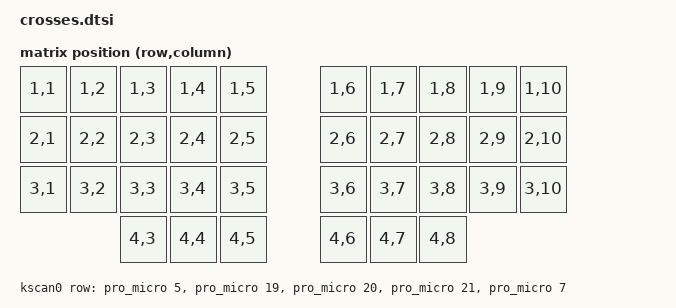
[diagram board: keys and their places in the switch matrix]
/*
 * Copyright (c) 2025 Vincent Franco
 * SPDX-License-Identifier: MIT
 */
#include <dt-bindings/zmk/matrix_transform.h>
#include <dt-bindings/zmk/input_transform.h>

#include "thirty_six_layout.dtsi"

&gggw_crosses_36_layout {
  transform = <&thirty_six_transform>;
};

&pinctrl {
    spi1_default: spi1_default {
        group1 {
            psels
              = <NRF_PSEL(SPIM_SCK, 0, 17)>
              , <NRF_PSEL(SPIM_MOSI, 0, 6)>
              , <NRF_PSEL(SPIM_MISO, 0, 6)>
              ;
        };
    };

    spi1_sleep: spi1_sleep {
        group1 {
            psels
              = <NRF_PSEL(SPIM_SCK, 0, 17)>
              , <NRF_PSEL(SPIM_MOSI, 0, 6)>
              , <NRF_PSEL(SPIM_MISO, 0, 6)>
              ;
            low-power-enable;
        };
    };
};

&spi1 {
  status = "okay";
  compatible = "nordic,nrf-spim";
  pinctrl-0 = <&spi1_default>;
  pinctrl-1 = <&spi1_sleep>;
  pinctrl-names = "default", "sleep";
};

/ {

  chosen {
    zmk,kscan = &kscan0;
    zmk,physical-layout = &gggw_crosses_36_layout;
  };

  thirty_six_transform: keymap_transform2 {
    compatible = "zmk,matrix-transform";
    columns = <12>;
    rows = <5>;
    map = <
      RC(1,1) RC(1,2) RC(1,3) RC(1,4) RC(1,5)           RC(1,6) RC(1,7) RC(1,8) RC(1,9) RC(1,10)
      RC(2,1) RC(2,2) RC(2,3) RC(2,4) RC(2,5)           RC(2,6) RC(2,7) RC(2,8) RC(2,9) RC(2,10)
      RC(3,1) RC(3,2) RC(3,3) RC(3,4) RC(3,5)           RC(3,6) RC(3,7) RC(3,8) RC(3,9) RC(3,10)
                      RC(4,3) RC(4,4) RC(4,5)           RC(4,6) RC(4,7) RC(4,8)
    >;
  };

  kscan0: kscan0 {
    compatible = "zmk,kscan-gpio-matrix";
    diode-direction = "col2row";
    wakeup-source;

    row-gpios
      = <&pro_micro 5 (GPIO_ACTIVE_HIGH | GPIO_PULL_DOWN)>
      , <&pro_micro 19 (GPIO_ACTIVE_HIGH | GPIO_PULL_DOWN)>
      , <&pro_micro 20 (GPIO_ACTIVE_HIGH | GPIO_PULL_DOWN)>
      , <&pro_micro 21 (GPIO_ACTIVE_HIGH | GPIO_PULL_DOWN)>
      , <&pro_micro 7 (GPIO_ACTIVE_HIGH | GPIO_PULL_DOWN)>
      ;
  };

};
